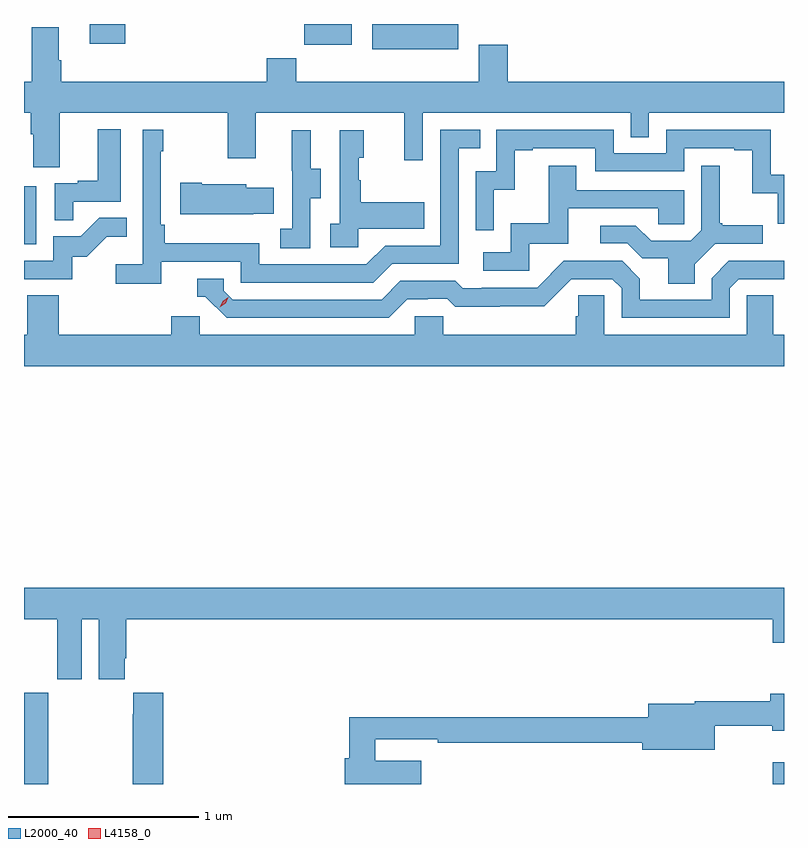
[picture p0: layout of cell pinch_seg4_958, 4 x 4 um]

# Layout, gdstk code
import gdstk
lib = gdstk.Library(unit=1e-6, precision=1e-09)
def R(c, l, rs):  # rectangles x0, y0, x1, y1
    for r in rs: c.add(gdstk.rectangle(r[:2], r[2:], *l))
def P(c, l, *ps):  # polygons
    for p in ps: c.add(gdstk.Polygon(p, *l))
L2000_40 = (2000, 40)
L4158_0 = (4158, 0)

pinch_seg4_958 = lib.new_cell('pinch_seg4_958')
R(pinch_seg4_958, L2000_40, [(886.919,781.3,887.046,781.78), (890.861,781.3,890.919,781.414), (886.919,784.14,886.984,784.447), (888.753,785.168,889.204,785.3), (888.394,785.19,888.643,785.3), (887.265,785.196,887.453,785.3)])
P(pinch_seg4_958, L2000_40, [(889.466,785.191),(889.313,785.191),(889.313,784.996),(888.353,784.996),(888.353,785.12),(888.197,785.12),(888.197,784.996),(887.114,784.996),(887.114,785.108),(887.101,785.108),(887.101,785.282),(886.961,785.282),(886.961,784.996),(886.919,784.996),(886.919,784.832),(886.955,784.832),(886.955,784.72),(886.967,784.72),(886.967,784.546),(887.107,784.546),(887.107,784.832),(887.992,784.832),(887.992,784.593),(888.139,784.593),(888.139,784.832),(888.92,784.832),(888.92,784.584),(889.017,784.584),(889.017,784.832),(890.112,784.832),(890.112,784.705),(890.208,784.705),(890.208,784.832),(890.919,784.832),(890.919,784.996),(889.466,784.996)],
  [(887.177,784.365),(887.428,784.365),(887.428,784.747),(887.306,784.747),(887.306,784.474),(887.203,784.474),(887.203,784.461),(887.082,784.461),(887.082,784.267),(887.177,784.267)],
  [(887.642,784.05),(888.06,784.05),(888.06,783.939),(888.757,783.939),(888.856,784.038),(889.206,784.038),(889.206,784.647),(889.319,784.647),(889.319,784.743),(889.11,784.743),(889.11,784.134),(888.819,784.134),(888.72,784.035),(888.156,784.035),(888.156,784.147),(887.66,784.147),(887.66,784.243),(887.64,784.243),(887.64,784.631),(887.653,784.631),(887.653,784.744),(887.544,784.744),(887.544,784.036),(887.403,784.036),(887.403,783.934),(887.642,783.934)],
  [(889.392,784.427),(889.502,784.427),(889.502,784.635),(889.597,784.635),(889.597,784.647),(889.926,784.647),(889.926,784.524),(890.394,784.524),(890.394,784.647),(890.657,784.647),(890.657,784.635),(890.753,784.635),(890.753,784.409),(890.886,784.409),(890.886,784.248),(890.919,784.248),(890.919,784.507),(890.85,784.507),(890.85,784.743),(890.298,784.743),(890.298,784.62),(890.022,784.62),(890.022,784.743),(889.404,784.743),(889.404,784.524),(889.296,784.524),(889.296,784.215),(889.392,784.215)],
  [(888.426,784.384),(888.481,784.384),(888.481,784.539),(888.427,784.539),(888.427,784.741),(888.329,784.741),(888.329,784.527),(888.33,784.527),(888.33,784.223),(888.267,784.223),(888.267,784.12),(888.426,784.12)],
  [(888.678,784.223),(889.025,784.223),(889.025,784.363),(888.691,784.363),(888.691,784.478),(888.681,784.478),(888.681,784.596),(888.706,784.596),(888.706,784.741),(888.582,784.741),(888.582,784.25),(888.531,784.25),(888.531,784.125),(888.678,784.125)],
  [(890.449,784.036),(890.556,784.143),(890.806,784.143),(890.806,784.24),(890.593,784.24),(890.593,784.252),(890.581,784.252),(890.581,784.555),(890.484,784.555),(890.484,784.215),(890.427,784.158),(890.221,784.158),(890.14,784.239),(889.953,784.239),(889.953,784.146),(890.094,784.146),(890.174,784.066),(890.309,784.066),(890.309,783.934),(890.449,783.934)],
  [(889.578,784.143),(889.783,784.143),(889.783,784.329),(890.257,784.329),(890.257,784.245),(890.394,784.245),(890.394,784.425),(889.825,784.425),(889.825,784.555),(889.681,784.555),(889.681,784.252),(889.482,784.252),(889.482,784.098),(889.335,784.098),(889.335,784.002),(889.578,784.002)],
  [(888.125,784.301),(888.233,784.301),(888.233,784.438),(888.09,784.438),(888.09,784.456),(887.854,784.456),(887.854,784.464),(887.742,784.464),(887.742,784.298),(888.125,784.298)],
  [(887.172,784.074),(887.248,784.074),(887.355,784.181),(887.459,784.181),(887.459,784.28),(887.316,784.28),(887.218,784.182),(887.073,784.182),(887.073,784.053),(886.919,784.053),(886.919,783.957),(887.172,783.957)],
  [(888.937,783.852),(889.044,783.852),(889.044,783.855),(889.147,783.855),(889.189,783.813),(889.422,783.813),(889.422,783.815),(889.658,783.815),(889.8,783.957),(890.016,783.957),(890.064,783.909),(890.064,783.753),(890.634,783.753),(890.634,783.909),(890.682,783.957),(890.919,783.957),(890.919,784.055),(890.844,784.055),(890.844,784.053),(890.628,784.053),(890.538,783.963),(890.538,783.849),(890.161,783.849),(890.161,783.959),(890.067,784.053),(889.761,784.053),(889.62,783.912),(889.327,783.912),(889.327,783.909),(889.228,783.909),(889.189,783.948),(888.9,783.948),(888.801,783.849),(888.018,783.849),(887.97,783.897),(887.97,783.96),(887.831,783.96),(887.831,783.864),(887.874,783.864),(887.985,783.753),(888.838,783.753)],
  [(890.919,783.664),(890.863,783.664),(890.863,783.872),(890.724,783.872),(890.724,783.664),(889.974,783.664),(889.974,783.872),(889.837,783.872),(889.837,783.762),(889.823,783.762),(889.823,783.664),(889.125,783.664),(889.125,783.762),(888.975,783.762),(888.975,783.664),(887.844,783.664),(887.844,783.762),(887.693,783.762),(887.693,783.664),(887.102,783.664),(887.102,783.872),(886.937,783.872),(886.937,783.664),(886.919,783.664),(886.919,783.5),(890.919,783.5)],
  [(887.224,782.168),(887.312,782.168),(887.312,781.851),(887.449,781.851),(887.449,781.963),(887.456,781.963),(887.456,782.168),(890.861,782.168),(890.861,782.044),(890.919,782.044),(890.919,782.332),(886.919,782.332),(886.919,782.168),(887.093,782.168),(887.093,781.851),(887.224,781.851)],
  [(887.651,781.78),(887.495,781.78),(887.495,781.667),(887.491,781.667),(887.491,781.3),(887.651,781.3)],
  [(889.009,781.423),(888.767,781.423),(888.767,781.536),(889.096,781.536),(889.096,781.516),(890.174,781.516),(890.174,781.481),(890.554,781.481),(890.554,781.606),(890.858,781.606),(890.858,781.58),(890.919,781.58),(890.919,781.774),(890.846,781.774),(890.846,781.735),(890.45,781.735),(890.45,781.723),(890.204,781.723),(890.204,781.652),(888.631,781.652),(888.631,781.436),(888.608,781.436),(888.608,781.3),(889.009,781.3)])
P(pinch_seg4_958, L4158_0, [(887.949,783.809),(887.949,783.809),(887.965,783.842),(887.995,783.862),(887.995,783.862),(887.995,783.861),(887.98,783.829),(887.95,783.809)])

lib.write_gds('pinch_seg4_958.gds')
